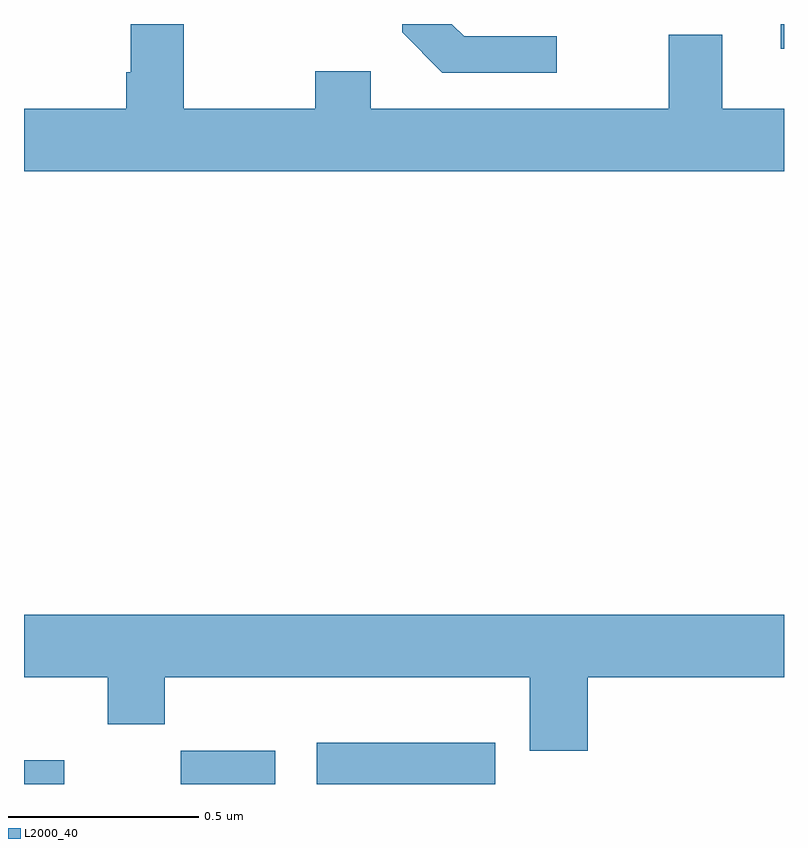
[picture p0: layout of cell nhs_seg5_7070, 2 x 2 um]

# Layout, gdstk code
import gdstk
lib = gdstk.Library(unit=1e-6, precision=1e-09)
def R(c, l, rs):  # rectangles x0, y0, x1, y1
    for r in rs: c.add(gdstk.rectangle(r[:2], r[2:], *l))
def P(c, l, *ps):  # polygons
    for p in ps: c.add(gdstk.Polygon(p, *l))
L2000_40 = (2000, 40)

nhs_seg5_7070 = lib.new_cell('nhs_seg5_7070')
R(nhs_seg5_7070, L2000_40, [(204,869.799,204.106,869.862), (204.412,869.799,204.661,869.887), (204.771,869.799,205.24,869.908), (205.991,871.734,206,871.799)])
P(nhs_seg5_7070, L2000_40, [(206,871.576),(205.837,871.576),(205.837,871.771),(205.697,871.771),(205.697,871.576),(204.913,871.576),(204.913,871.675),(204.766,871.675),(204.766,871.576),(204.421,871.576),(204.421,871.799),(204.281,871.799),(204.281,871.672),(204.269,871.672),(204.269,871.576),(204,871.576),(204,871.412),(206,871.412)],
  [(205.402,871.767),(205.158,871.767),(205.126,871.799),(204.996,871.799),(204.996,871.777),(205.101,871.671),(205.402,871.671)],
  [(205.484,870.08),(206,870.08),(206,870.244),(204,870.244),(204,870.08),(204.22,870.08),(204.22,869.956),(204.371,869.956),(204.371,870.08),(205.331,870.08),(205.331,869.886),(205.484,869.886)])

lib.write_gds('nhs_seg5_7070.gds')
